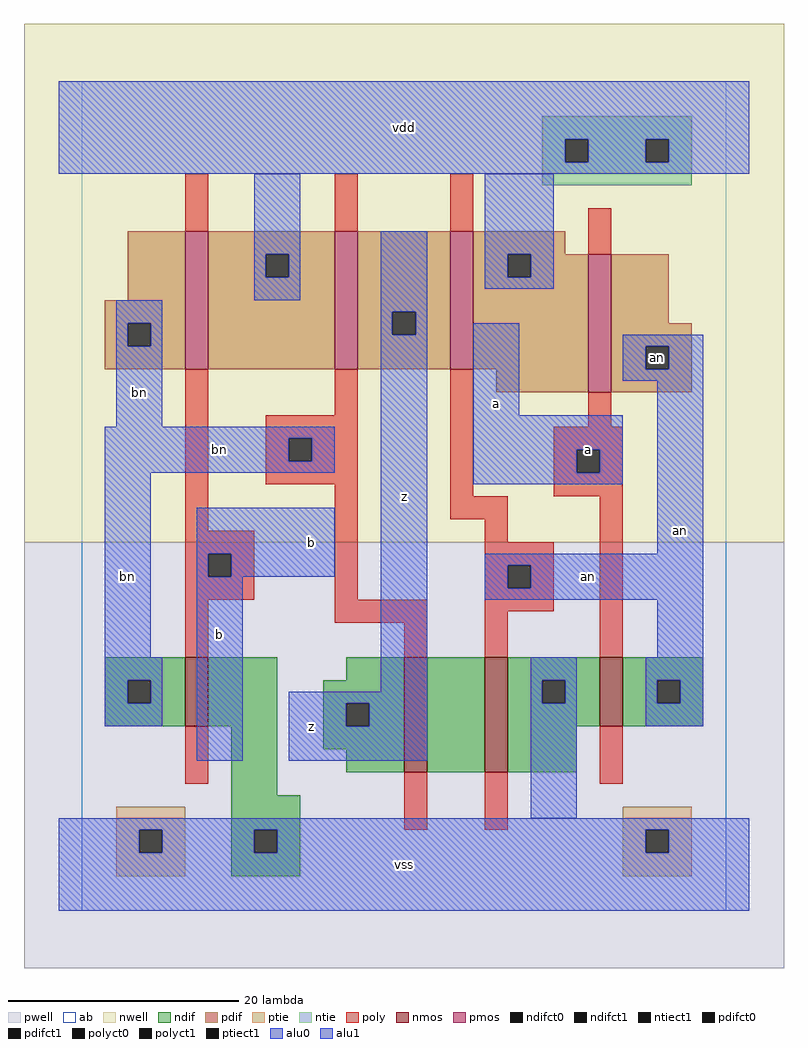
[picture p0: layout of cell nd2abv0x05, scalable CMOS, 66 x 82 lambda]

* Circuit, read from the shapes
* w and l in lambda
.subckt nd2abv0x05 a an b bn vdd vss z
M1 vss b bn vss nfet w=6 l=2
M2 n1 bn z vss nfet w=10 l=2
M3 vss an n1 vss nfet w=10 l=2
M4 an a vss vss nfet w=6 l=2
M5 vdd b bn vdd pfet w=12 l=2
M6 z bn vdd vdd pfet w=12 l=2
M7 vdd an z vdd pfet w=12 l=2
M8 an a vdd vdd pfet w=12 l=2
.ends

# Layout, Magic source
magic
tech scmos
<< ab >>
rect 0 0 56 72
<< nwell >>
rect -5 32 61 77
<< pwell >>
rect -5 -5 61 32
<< poly >>
rect 9 59 11 64
rect 22 59 24 64
rect 32 59 34 64
rect 44 57 46 61
rect 9 33 11 47
rect 22 43 24 47
rect 16 41 24 43
rect 16 39 18 41
rect 20 39 24 41
rect 16 37 24 39
rect 9 31 15 33
rect 9 29 11 31
rect 13 29 15 31
rect 9 27 15 29
rect 22 27 24 37
rect 32 36 34 47
rect 44 42 46 45
rect 41 40 47 42
rect 41 38 43 40
rect 45 38 47 40
rect 41 36 47 38
rect 32 34 37 36
rect 35 32 37 34
rect 35 30 41 32
rect 35 28 37 30
rect 39 28 41 30
rect 9 22 11 27
rect 22 25 30 27
rect 28 22 30 25
rect 35 26 41 28
rect 35 22 37 26
rect 45 22 47 36
rect 9 11 11 16
rect 28 7 30 12
rect 35 7 37 12
rect 45 11 47 16
<< ndif >>
rect 2 20 9 22
rect 2 18 4 20
rect 6 18 9 20
rect 2 16 9 18
rect 11 16 17 22
rect 23 20 28 22
rect 13 10 17 16
rect 21 18 28 20
rect 21 16 23 18
rect 25 16 28 18
rect 21 14 28 16
rect 23 12 28 14
rect 30 12 35 22
rect 37 20 45 22
rect 37 18 40 20
rect 42 18 45 20
rect 37 16 45 18
rect 47 20 54 22
rect 47 18 50 20
rect 52 18 54 20
rect 47 16 54 18
rect 37 12 43 16
rect 13 7 19 10
rect 13 5 15 7
rect 17 5 19 7
rect 13 3 19 5
<< pdif >>
rect 4 53 9 59
rect 2 51 9 53
rect 2 49 4 51
rect 6 49 9 51
rect 2 47 9 49
rect 11 57 22 59
rect 11 55 16 57
rect 18 55 22 57
rect 11 47 22 55
rect 24 52 32 59
rect 24 50 27 52
rect 29 50 32 52
rect 24 47 32 50
rect 34 57 42 59
rect 34 55 37 57
rect 39 55 44 57
rect 34 47 44 55
rect 36 45 44 47
rect 46 51 51 57
rect 46 49 53 51
rect 46 47 49 49
rect 51 47 53 49
rect 46 45 53 47
<< alu1 >>
rect -2 67 58 72
rect -2 65 42 67
rect 44 65 49 67
rect 51 65 58 67
rect -2 64 58 65
rect 26 52 30 59
rect 26 50 27 52
rect 29 50 30 52
rect 10 31 22 35
rect 10 29 11 31
rect 13 29 22 31
rect 10 13 14 29
rect 26 19 30 50
rect 34 43 38 51
rect 34 40 47 43
rect 34 38 43 40
rect 45 38 47 40
rect 34 37 47 38
rect 18 18 30 19
rect 18 16 23 18
rect 25 16 30 18
rect 18 13 30 16
rect -2 7 58 8
rect -2 5 5 7
rect 7 5 15 7
rect 17 5 49 7
rect 51 5 58 7
rect -2 0 58 5
<< ptie >>
rect 3 7 9 9
rect 3 5 5 7
rect 7 5 9 7
rect 3 3 9 5
rect 47 7 53 9
rect 47 5 49 7
rect 51 5 53 7
rect 47 3 53 5
<< ntie >>
rect 40 67 53 69
rect 40 65 42 67
rect 44 65 49 67
rect 51 65 53 67
rect 40 63 53 65
<< nmos >>
rect 9 16 11 22
rect 28 12 30 22
rect 35 12 37 22
rect 45 16 47 22
<< pmos >>
rect 9 47 11 59
rect 22 47 24 59
rect 32 47 34 59
rect 44 45 46 57
<< polyct0 >>
rect 18 39 20 41
rect 37 28 39 30
<< polyct1 >>
rect 11 29 13 31
rect 43 38 45 40
<< ndifct0 >>
rect 4 18 6 20
rect 40 18 42 20
rect 50 18 52 20
<< ndifct1 >>
rect 23 16 25 18
rect 15 5 17 7
<< ntiect1 >>
rect 42 65 44 67
rect 49 65 51 67
<< ptiect1 >>
rect 5 5 7 7
rect 49 5 51 7
<< pdifct0 >>
rect 4 49 6 51
rect 16 55 18 57
rect 37 55 39 57
rect 49 47 51 49
<< pdifct1 >>
rect 27 50 29 52
<< alu0 >>
rect 15 57 19 64
rect 15 55 16 57
rect 18 55 19 57
rect 15 53 19 55
rect 3 51 7 53
rect 3 49 4 51
rect 6 49 7 51
rect 3 42 7 49
rect 35 57 41 64
rect 35 55 37 57
rect 39 55 41 57
rect 35 54 41 55
rect 2 41 22 42
rect 2 39 18 41
rect 20 39 22 41
rect 2 38 22 39
rect 2 22 6 38
rect 2 20 7 22
rect 2 18 4 20
rect 6 18 7 20
rect 2 16 7 18
rect 47 49 54 50
rect 47 47 49 49
rect 51 47 54 49
rect 47 46 54 47
rect 50 31 54 46
rect 35 30 54 31
rect 35 28 37 30
rect 39 28 54 30
rect 35 27 54 28
rect 50 22 54 27
rect 39 20 43 22
rect 39 18 40 20
rect 42 18 43 20
rect 39 8 43 18
rect 49 20 54 22
rect 49 18 50 20
rect 52 18 54 20
rect 49 16 54 18
<< labels >>
rlabel alu0 4 29 4 29 6 bn
rlabel alu0 5 45 5 45 6 bn
rlabel alu0 12 40 12 40 6 bn
rlabel alu0 44 29 44 29 6 an
rlabel pdifct0 50 48 50 48 6 an
rlabel alu0 52 33 52 33 6 an
rlabel alu1 20 16 20 16 6 z
rlabel alu1 12 24 12 24 6 b
rlabel alu1 20 32 20 32 6 b
rlabel alu1 28 4 28 4 6 vss
rlabel alu1 28 36 28 36 6 z
rlabel alu1 36 44 36 44 6 a
rlabel alu1 28 68 28 68 6 vdd
rlabel alu1 44 40 44 40 6 a
<< end >>
